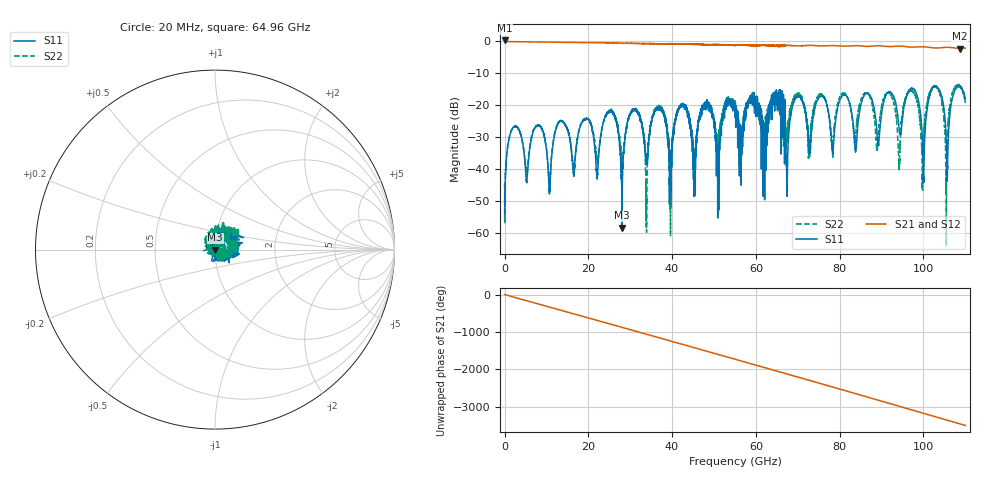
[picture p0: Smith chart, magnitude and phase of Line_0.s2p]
#  HZ  S  RI  R  50.00
! Rohde & Schwarz ZVA67 4Ports - Version 4.11 - 1305.7002k04 SN: 101032
! Date: 2026-02-18 15:00:02
! Measurements: S11 S21 S12 S22
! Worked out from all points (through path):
!   5500 points, 20 MHz to 110 GHz, reference 50 ohm
!   highest |S21| = 0.28 dB at 20 MHz (marker M1); lowest = -2.2 dB at 108.7 GHz (marker M2)
!   group delay of S21, straight-line fit = 88.3 ps
!   lowest |S11| = -58.4 dB at 28.04 GHz (marker M3), VSWR 1.00, Z = 50.1 - j0.108 ohm
!   |S11| at or under -10 dB: start of sweep to end of sweep
!   |S22| runs from -64.2 to -13.5 dB; largest |S21 - S12| = 0.05
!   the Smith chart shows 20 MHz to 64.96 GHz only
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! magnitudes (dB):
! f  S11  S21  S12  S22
! 20 MHz  -55.0  0.3  -0.1  -44.6
! 2.18 GHz  -26.8  -0.1  -0.1  -26.9
! 10.72 GHz  -47.8  -0.2  -0.3  -45.2
! 18.36 GHz  -25.7  -0.4  -0.4  -25.5
! 22.08 GHz  -43.1  -0.4  -0.4  -36.8
! 25.74 GHz  -22.3  -0.5  -0.5  -22.0
! 28.04 GHz  -58.4  -0.5  -0.5  -36.1
! 31.28 GHz  -21.5  -0.6  -0.7  -21.0
! 33.96 GHz  -37.7  -0.7  -0.7  -50.8
! 36.68 GHz  -20.8  -0.8  -0.8  -20.7
! 39.6 GHz  -46.7  -0.8  -0.8  -48.4
! 42.08 GHz  -20.2  -0.9  -0.9  -20.1
! 45.32 GHz  -40.5  -0.9  -0.9  -39.6
! 55.02 GHz  -20.7  -1.2  -1.2  -21.4
! 73.34 GHz  -27.6  -1.3  -1.3  -25.3
! 91.68 GHz  -15.7  -1.6  -1.6  -16.1
! 97.66 GHz  -14.9  -1.8  -1.8  -16.2
! 99.76 GHz  -31.2  -1.7  -1.7  -43.9
! 101.9 GHz  -15.4  -2.0  -2.0  -15.0
! 105.4 GHz  -30.7  -1.9  -1.9  -44.5
! 108.7 GHz  -14.3  -2.2  -2.2  -14.0
! 110 GHz  -18.0  -2.1  -2.1  -19.1
